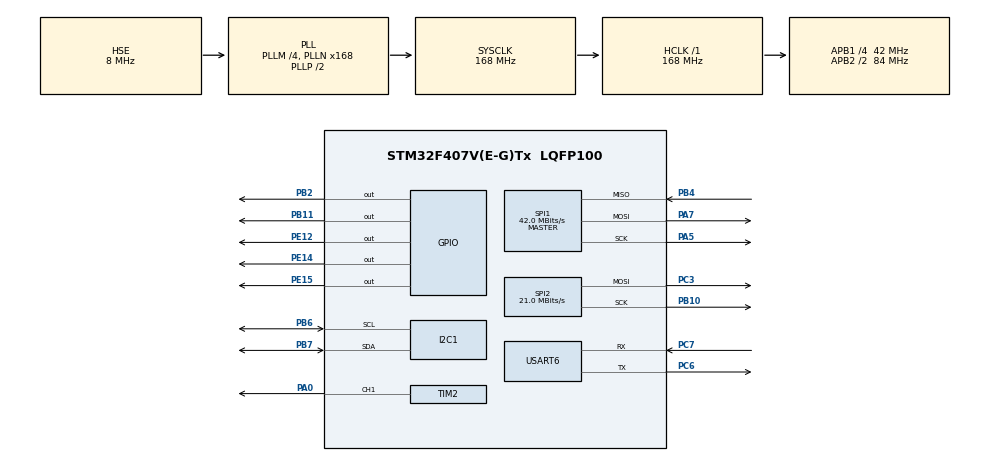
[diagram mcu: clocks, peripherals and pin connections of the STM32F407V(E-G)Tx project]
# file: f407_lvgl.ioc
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Dma.Request0=SPI1_TX
Dma.Request1=SPI2_TX
Dma.SPI1_TX.0.Direction=DMA_MEMORY_TO_PERIPH
Dma.SPI1_TX.0.FIFOMode=DMA_FIFOMODE_DISABLE
Dma.SPI1_TX.0.Instance=DMA2_Stream5
Dma.SPI1_TX.0.MemDataAlignment=DMA_MDATAALIGN_BYTE
Dma.SPI1_TX.0.MemInc=DMA_MINC_ENABLE
Dma.SPI1_TX.0.Mode=DMA_NORMAL
Dma.SPI1_TX.0.PeriphDataAlignment=DMA_PDATAALIGN_BYTE
Dma.SPI1_TX.0.PeriphInc=DMA_PINC_DISABLE
Dma.SPI1_TX.0.Priority=DMA_PRIORITY_MEDIUM
Dma.SPI2_TX.1.Direction=DMA_MEMORY_TO_PERIPH
Dma.SPI2_TX.1.FIFOMode=DMA_FIFOMODE_DISABLE
Dma.SPI2_TX.1.Instance=DMA1_Stream4
Dma.SPI2_TX.1.MemDataAlignment=DMA_MDATAALIGN_BYTE
Dma.SPI2_TX.1.MemInc=DMA_MINC_ENABLE
Dma.SPI2_TX.1.Mode=DMA_NORMAL
Dma.SPI2_TX.1.PeriphDataAlignment=DMA_PDATAALIGN_BYTE
Dma.SPI2_TX.1.PeriphInc=DMA_PINC_DISABLE
Dma.SPI2_TX.1.Priority=DMA_PRIORITY_LOW
FREERTOS.Tasks01=defaultTask,0,1024,StartDefaultTask,Default,NULL,Dynamic,NULL,NULL;lvgl_task,-3,128,lvgl_task_func,Default,NULL,Dynamic,NULL,NULL
FREERTOS.configTIMER_TASK_PRIORITY=4
FREERTOS.configTIMER_TASK_STACK_DEPTH=128
FREERTOS.configUSE_TIMERS=1
Mcu.Family=STM32F4
Mcu.Name=STM32F407V(E-G)Tx
Mcu.Package=LQFP100
NVIC.DMA1_Stream4_IRQn=true\:5\:0\:false\:false\:true\:true\:false\:true\:true
NVIC.DMA2_Stream5_IRQn=true\:5\:0\:false\:false\:true\:true\:false\:true\:true
NVIC.PriorityGroup=NVIC_PRIORITYGROUP_4
NVIC.TIM2_IRQn=true\:5\:0\:false\:false\:true\:true\:true\:true\:true
NVIC.TIM4_IRQn=true\:5\:0\:false\:false\:true\:true\:true\:true\:true
NVIC.TIM8_TRG_COM_TIM14_IRQn=true\:15\:0\:false\:false\:true\:false\:false\:true\:true
NVIC.TimeBase=TIM8_TRG_COM_TIM14_IRQn
NVIC.TimeBaseIP=TIM14
NVIC.USART6_IRQn=true\:5\:0\:false\:false\:true\:true\:true\:true\:true
PA0-WKUP.Signal=S_TIM2_CH1_ETR
PA5.Mode=Full_Duplex_Master
PA5.Signal=SPI1_SCK
PA7.Mode=Full_Duplex_Master
PA7.Signal=SPI1_MOSI
PB10.Mode=TX_Only_Simplex_Unidirect_Master
PB10.Signal=SPI2_SCK
PB11.Signal=GPIO_Output
PB2.Signal=GPIO_Output
PB4.Mode=Full_Duplex_Master
PB4.Signal=SPI1_MISO
PB6.Mode=I2C
PB6.Signal=I2C1_SCL
PB7.Mode=I2C
PB7.Signal=I2C1_SDA
PC3.Mode=TX_Only_Simplex_Unidirect_Master
PC3.Signal=SPI2_MOSI
PC6.Mode=Asynchronous
PC6.Signal=USART6_TX
PC7.Mode=Asynchronous
PC7.Signal=USART6_RX
PE12.Signal=GPIO_Output
PE14.Signal=GPIO_Output
PE15.Signal=GPIO_Output
PH0-OSC_IN.Mode=HSE-External-Oscillator
PH0-OSC_IN.Signal=RCC_OSC_IN
PH1-OSC_OUT.Mode=HSE-External-Oscillator
PH1-OSC_OUT.Signal=RCC_OSC_OUT
ProjectManager.HeapSize=0x2000
ProjectManager.StackSize=0x2000
ProjectManager.TargetToolchain=MDK-ARM V5.27
RCC.48MHZClocksFreq_Value=48000000
RCC.AHBFreq_Value=168000000
RCC.APB1CLKDivider=RCC_HCLK_DIV4
RCC.APB1Freq_Value=42000000
RCC.APB1TimFreq_Value=84000000
RCC.APB2CLKDivider=RCC_HCLK_DIV2
RCC.APB2Freq_Value=84000000
RCC.APB2TimFreq_Value=168000000
RCC.CortexFreq_Value=168000000
RCC.HCLKFreq_Value=168000000
RCC.HSE_VALUE=8000000
RCC.HSI_VALUE=16000000
RCC.LSE_VALUE=32768
RCC.PLLM=4
RCC.PLLN=168
RCC.PLLQ=7
RCC.PLLSourceVirtual=RCC_PLLSOURCE_HSE
RCC.SYSCLKFreq_VALUE=168000000
RCC.SYSCLKSource=RCC_SYSCLKSOURCE_PLLCLK
RCC.VCOOutputFreq_Value=336000000
SH.S_TIM2_CH1_ETR.0=TIM2_CH1,PWM Generation1 CH1
SPI1.BaudRatePrescaler=SPI_BAUDRATEPRESCALER_2
SPI1.CLKPhase=SPI_PHASE_2EDGE
SPI1.CLKPolarity=SPI_POLARITY_HIGH
SPI1.CalculateBaudRate=42.0 MBits/s
SPI1.DataSize=SPI_DATASIZE_8BIT
SPI1.Direction=SPI_DIRECTION_2LINES
SPI1.Mode=SPI_MODE_MASTER
SPI1.VirtualType=VM_MASTER
SPI2.CalculateBaudRate=21.0 MBits/s
SPI2.Direction=SPI_DIRECTION_2LINES
SPI2.Mode=SPI_MODE_MASTER
SPI2.VirtualType=VM_MASTER
TIM2.AutoReloadPreload=TIM_AUTORELOAD_PRELOAD_ENABLE
TIM2.Channel-PWM\ Generation1\ CH1=TIM_CHANNEL_1
TIM2.Period=999
TIM2.Prescaler=41
TIM2.Pulse-PWM\ Generation1\ CH1=500
TIM4.AutoReloadPreload=TIM_AUTORELOAD_PRELOAD_ENABLE
TIM4.Period=999
TIM4.Prescaler=83
USART6.VirtualMode=VM_ASYNC
VP_FREERTOS_VS_CMSIS_V1.Mode=CMSIS_V1
VP_SYS_VS_tim14.Mode=TIM14
VP_TIM4_VS_ClockSourceINT.Mode=Internal
board=custom

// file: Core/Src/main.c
/* USER CODE BEGIN Header */
/**
 ******************************************************************************
 * @file           : main.c
 * @brief          : Main program body
 ******************************************************************************
 * @attention
 *
 * Copyright (c) 2024 STMicroelectronics.
 * All rights reserved.
 *
 * This software is licensed under terms that can be found in the LICENSE file
 * in the root directory of this software component.
 * If no LICENSE file comes with this software, it is provided AS-IS.
 *
 ******************************************************************************
 */
/* USER CODE END Header */
#include "main.h"
#include "cmsis_os.h"
#include "dma.h"
#include "i2c.h"
#include "spi.h"
#include "tim.h"
#include "usart.h"
#include "gpio.h"

/* USER CODE BEGIN Includes */
#include "stdio.h"
#include "stm32f4xx_it.h"
#include "st7789v.h"
#include "lvgl.h"
#include "lv_port_disp.h"
#include "lv_port_indev.h"
#include "ft6336.h"

/* USER CODE END Includes */

/* USER CODE BEGIN PTD */
int fputc(int ch, FILE *f)
{
  uint8_t temp[1] = {ch};
  HAL_UART_Transmit(&huart6, temp, 1, 0xffff);
  return ch;
}

int fgetc(FILE *f)
{
  uint8_t ch = 0;
  HAL_UART_Receive(&huart6, &ch, 1, 0xffff);
  return ch;
}
/* USER CODE END PTD */

void SystemClock_Config(void);
void MX_FREERTOS_Init(void);

int main(void)
{

  /* MCU Configuration--------------------------------------------------------*/

  /* Reset of all peripherals, Initializes the Flash interface and the Systick. */
  HAL_Init();

  /* Configure the system clock */
  SystemClock_Config();

  /* Initialize all configured peripherals */
  MX_GPIO_Init();
  MX_DMA_Init();
  MX_SPI1_Init();
  MX_USART6_UART_Init();
  MX_TIM4_Init();
  MX_TIM2_Init();
  MX_SPI2_Init();
  MX_I2C1_Init();
  /* USER CODE BEGIN 2 */
  HAL_TIM_Base_Start_IT(&htim4);

  HAL_TIM_PWM_Start(&htim2, TIM_CHANNEL_1);
  //	htim2.Instance->CCR1 = 300;
  //	__HAL_TIM_SetCompare(&htim2, TIM_CHANNEL_1, 300);

  // Drvst7789Init();
  /* USER CODE END 2 */

  /* Call init function for freertos objects (in cmsis_os2.c) */
  MX_FREERTOS_Init();

  /* Start scheduler */
  osKernelStart();

  /* We should never get here as control is now taken by the scheduler */

  /* Infinite loop */
  /* USER CODE BEGIN WHILE */

  while (1)
  {

    //	HAL_GPIO_TogglePin(GPIOB,GPIO_PIN_2);

    /* USER CODE END WHILE */

  }
}

void SystemClock_Config(void)
{
  RCC_OscInitTypeDef RCC_OscInitStruct = {0};
  RCC_ClkInitTypeDef RCC_ClkInitStruct = {0};

  /** Configure the main internal regulator output voltage
  */
  __HAL_RCC_PWR_CLK_ENABLE();
  __HAL_PWR_VOLTAGESCALING_CONFIG(PWR_REGULATOR_VOLTAGE_SCALE1);

  /** Initializes the RCC Oscillators according to the specified parameters
  * in the RCC_OscInitTypeDef structure.
  */
  RCC_OscInitStruct.OscillatorType = RCC_OSCILLATORTYPE_HSE;
  RCC_OscInitStruct.HSEState = RCC_HSE_ON;
  RCC_OscInitStruct.PLL.PLLState = RCC_PLL_ON;
  RCC_OscInitStruct.PLL.PLLSource = RCC_PLLSOURCE_HSE;
  RCC_OscInitStruct.PLL.PLLM = 4;
  RCC_OscInitStruct.PLL.PLLN = 168;
  RCC_OscInitStruct.PLL.PLLP = RCC_PLLP_DIV2;
  RCC_OscInitStruct.PLL.PLLQ = 7;
  if (HAL_RCC_OscConfig(&RCC_OscInitStruct) != HAL_OK)
  {
    Error_Handler();
  }

  /** Initializes the CPU, AHB and APB buses clocks
  */
  RCC_ClkInitStruct.ClockType = RCC_CLOCKTYPE_HCLK|RCC_CLOCKTYPE_SYSCLK
                              |RCC_CLOCKTYPE_PCLK1|RCC_CLOCKTYPE_PCLK2;
  RCC_ClkInitStruct.SYSCLKSource = RCC_SYSCLKSOURCE_PLLCLK;
  RCC_ClkInitStruct.AHBCLKDivider = RCC_SYSCLK_DIV1;
  RCC_ClkInitStruct.APB1CLKDivider = RCC_HCLK_DIV4;
  RCC_ClkInitStruct.APB2CLKDivider = RCC_HCLK_DIV2;

  if (HAL_RCC_ClockConfig(&RCC_ClkInitStruct, FLASH_LATENCY_5) != HAL_OK)
  {
    Error_Handler();
  }
}

void HAL_TIM_PeriodElapsedCallback(TIM_HandleTypeDef *htim)
{
  if (htim->Instance == TIM14) {
    HAL_IncTick();
  }
}

void Error_Handler(void)
{
  __disable_irq();
  while (1)
  {
  }
}

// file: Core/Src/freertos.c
/* USER CODE BEGIN Header */
/**
 ******************************************************************************
 * File Name          : freertos.c
 * Description        : Code for freertos applications
 ******************************************************************************
 * @attention
 *
 * Copyright (c) 2024 STMicroelectronics.
 * All rights reserved.
 *
 * This software is licensed under terms that can be found in the LICENSE file
 * in the root directory of this software component.
 * If no LICENSE file comes with this software, it is provided AS-IS.
 *
 ******************************************************************************
 */
/* USER CODE END Header */

#include "FreeRTOS.h"
#include "task.h"
#include "main.h"
#include "cmsis_os.h"

/* USER CODE BEGIN Includes */
#include "stdio.h"
#include "stm32f4xx_it.h"
#include "st7789v.h"
#include "lvgl.h"
#include "lv_port_disp.h"
#include "lv_port_indev.h"
#include "ft6336.h"
#include "my_lv.h"
/* USER CODE END Includes */

osThreadId defaultTaskHandle;
osThreadId lvgl_taskHandle;

void StartDefaultTask(void const * argument);
void lvgl_task_func(void const * argument);

void MX_FREERTOS_Init(void); /* (MISRA C 2004 rule 8.1) */

/* GetIdleTaskMemory prototype (linked to static allocation support) */
void vApplicationGetIdleTaskMemory( StaticTask_t **ppxIdleTaskTCBBuffer, StackType_t **ppxIdleTaskStackBuffer, uint32_t *pulIdleTaskStackSize );

/* GetTimerTaskMemory prototype (linked to static allocation support) */
void vApplicationGetTimerTaskMemory( StaticTask_t **ppxTimerTaskTCBBuffer, StackType_t **ppxTimerTaskStackBuffer, uint32_t *pulTimerTaskStackSize );

/* USER CODE BEGIN GET_IDLE_TASK_MEMORY */
static StaticTask_t xIdleTaskTCBBuffer;
static StackType_t xIdleStack[configMINIMAL_STACK_SIZE];

void vApplicationGetIdleTaskMemory(StaticTask_t **ppxIdleTaskTCBBuffer, StackType_t **ppxIdleTaskStackBuffer, uint32_t *pulIdleTaskStackSize)
{
  *ppxIdleTaskTCBBuffer = &xIdleTaskTCBBuffer;
  *ppxIdleTaskStackBuffer = &xIdleStack[0];
  *pulIdleTaskStackSize = configMINIMAL_STACK_SIZE;
  /* place for user code */
}
/* USER CODE END GET_IDLE_TASK_MEMORY */

/* USER CODE BEGIN GET_TIMER_TASK_MEMORY */
static StaticTask_t xTimerTaskTCBBuffer;
static StackType_t xTimerStack[configTIMER_TASK_STACK_DEPTH];

void vApplicationGetTimerTaskMemory(StaticTask_t **ppxTimerTaskTCBBuffer, StackType_t **ppxTimerTaskStackBuffer, uint32_t *pulTimerTaskStackSize)
{
  *ppxTimerTaskTCBBuffer = &xTimerTaskTCBBuffer;
  *ppxTimerTaskStackBuffer = &xTimerStack[0];
  *pulTimerTaskStackSize = configTIMER_TASK_STACK_DEPTH;
  /* place for user code */
}
/* USER CODE END GET_TIMER_TASK_MEMORY */

void MX_FREERTOS_Init(void) {

  /* Create the thread(s) */
  /* definition and creation of defaultTask */
  osThreadDef(defaultTask, StartDefaultTask, osPriorityNormal, 0, 1024);
  defaultTaskHandle = osThreadCreate(osThread(defaultTask), NULL);

  /* definition and creation of lvgl_task */
  osThreadDef(lvgl_task, lvgl_task_func, osPriorityIdle, 0, 1024);
  lvgl_taskHandle = osThreadCreate(osThread(lvgl_task), NULL);

}

void StartDefaultTask(void const * argument)
{
  /* USER CODE BEGIN StartDefaultTask */

  /* Infinite loop */
  for (;;)
  {
    //		printf("111\r\n");

    // HAL_GPIO_TogglePin(GPIOB, GPIO_PIN_2);
    osDelay(2000);
  }
  /* USER CODE END StartDefaultTask */
}

void lvgl_task_func(void const * argument)
{
  /* USER CODE BEGIN lvgl_task_func */

  TimerHandle_t xTimerHandle = xTimerCreate("lvgl_tick",
                                            (TickType_t)1,
                                            pdTRUE,
                                            (void *) 0,
                                            (TimerCallbackFunction_t)lvgl_tick);
  xTimerStart(xTimerHandle, 0);
	// do_i2cdetect_cmd();
  lv_init();

  lv_port_disp_init();

  // lv_port_indev_init();
  test();
  /* Infinite loop */
  for (;;)
  {
    lv_timer_handler();
    osDelay(5);
  }
  /* USER CODE END lvgl_task_func */
}
